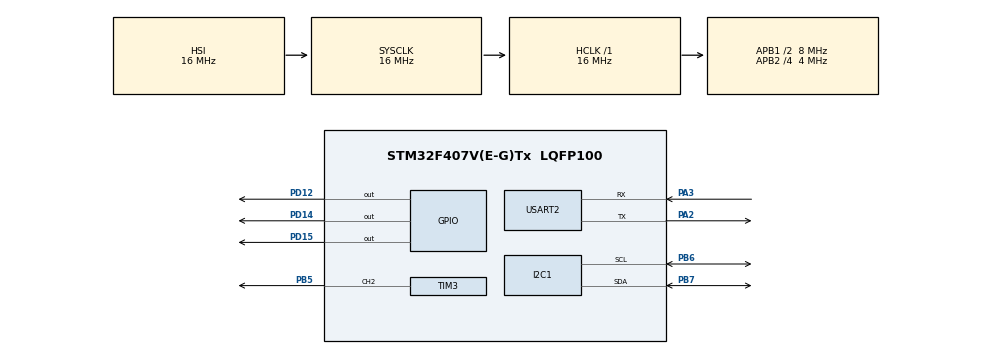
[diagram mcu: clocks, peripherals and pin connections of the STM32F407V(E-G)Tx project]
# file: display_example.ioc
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I2C1.I2C_Mode=I2C_Fast
Mcu.Family=STM32F4
Mcu.Name=STM32F407V(E-G)Tx
Mcu.Package=LQFP100
NVIC.PriorityGroup=NVIC_PRIORITYGROUP_4
NVIC.TIM2_IRQn=true\:0\:0\:false\:false\:true\:true\:true\:true
PA2.Mode=Asynchronous
PA2.Signal=USART2_TX
PA3.Mode=Asynchronous
PA3.Signal=USART2_RX
PB5.Signal=S_TIM3_CH2
PB6.Mode=I2C
PB6.Signal=I2C1_SCL
PB7.Mode=I2C
PB7.Signal=I2C1_SDA
PD12.GPIO_Speed=GPIO_SPEED_FREQ_HIGH
PD12.Signal=GPIO_Output
PD14.GPIO_Speed=GPIO_SPEED_FREQ_HIGH
PD14.Signal=GPIO_Output
PD15.GPIO_Speed=GPIO_SPEED_FREQ_HIGH
PD15.Signal=GPIO_Output
ProjectManager.HeapSize=0x200
ProjectManager.StackSize=0x400
ProjectManager.TargetToolchain=STM32CubeIDE
RCC.48MHZClocksFreq_Value=32000000
RCC.AHBFreq_Value=16000000
RCC.APB1CLKDivider=RCC_HCLK_DIV2
RCC.APB1Freq_Value=8000000
RCC.APB1TimFreq_Value=16000000
RCC.APB2CLKDivider=RCC_HCLK_DIV4
RCC.APB2Freq_Value=4000000
RCC.APB2TimFreq_Value=8000000
RCC.CortexFreq_Value=16000000
RCC.HCLKFreq_Value=16000000
RCC.HSE_VALUE=25000000
RCC.HSI_VALUE=16000000
RCC.LSE_VALUE=32768
RCC.PLLM=8
RCC.PLLN=64
RCC.SYSCLKFreq_VALUE=16000000
RCC.VCOOutputFreq_Value=128000000
SH.S_TIM3_CH2.0=TIM3_CH2,PWM Generation2 CH2
TIM2.AutoReloadPreload=TIM_AUTORELOAD_PRELOAD_ENABLE
TIM2.Period=65535
TIM2.Prescaler=15
TIM3.AutoReloadPreload=TIM_AUTORELOAD_PRELOAD_ENABLE
TIM3.Channel-PWM\ Generation2\ CH2=TIM_CHANNEL_2
TIM3.Period=1000-1
TIM3.Prescaler=84-1
TIM3.Pulse-PWM\ Generation2\ CH2=500
USART2.VirtualMode=VM_ASYNC
VP_TIM2_VS_ClockSourceINT.Mode=Internal
VP_TIM3_VS_ClockSourceINT.Mode=Internal
board=custom

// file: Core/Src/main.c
/* USER CODE BEGIN Header */
/**
  ******************************************************************************
  * @file           : main.c
  * @brief          : Weather Station Main Program
  * @author         : Diana Siukalo
  ******************************************************************************
  * @attention
  *
  * Copyright (c) 2026 STMicroelectronics.
  * All rights reserved.
  *
  * This software is licensed under terms that can be found in the LICENSE file
  * in the root directory of this software component.
  * If no LICENSE file comes with this software, it is provided AS-IS.
  *
  ******************************************************************************
  */
/* USER CODE END Header */
#include "main.h"

/* USER CODE BEGIN Includes */
#include <stdio.h>                    // for sprintf, printf
#include <string.h>                   // for strlen
#include "LiquidCrystal_I2C.h"        // I2C LCD driver
#include "dht11.h"                    // DHT11 sensor driver
/* USER CODE END Includes */

/* USER CODE BEGIN PTD */
/**
 * @brief System states based on temperature reading
 */
typedef enum {
  STATE_NORMAL,
  STATE_WARNING,
  STATE_CRITICAL
} SystemState;
/* USER CODE END PTD */

I2C_HandleTypeDef hi2c1;

TIM_HandleTypeDef htim2;
TIM_HandleTypeDef htim3;

UART_HandleTypeDef huart2;

/* USER CODE BEGIN PV */
SystemState currentState = STATE_NORMAL;    // Holds the current system state
/* USER CODE END PV */

void SystemClock_Config(void);
static void MX_GPIO_Init(void);
static void MX_I2C1_Init(void);
static void MX_USART2_UART_Init(void);
static void MX_TIM2_Init(void);
static void MX_TIM3_Init(void);

/* USER CODE BEGIN 0 */
/**
 * @brief Retarget printf to UART2 – sends characters via USART2
 * @param ch Character to send
 * @return The character sent (standard for putchar)
 */
int __io_putchar(int ch) {
    HAL_UART_Transmit(&huart2, (uint8_t*)&ch, 1, HAL_MAX_DELAY);
    return ch;
}

// RGB LED pin definitions on Port D  (for KY-016)
#define LED_R_PIN   GPIO_PIN_14    // Red LED control pin
#define LED_G_PIN   GPIO_PIN_12    // Green LED control pin
#define LED_B_PIN   GPIO_PIN_15    // Blue LED control pin
#define LED_PORT    GPIOD          // GPIO port for all RGB LEDs
/**
 * @brief Set the RGB LED to a specific color by controlling each pin
 * @param r 1 = Red ON, 0 = OFF
 * @param g 1 = Green ON, 0 = OFF
 * @param b 1 = Blue ON, 0 = OFF
 */
void setRGB(uint8_t r, uint8_t g, uint8_t b) {
    HAL_GPIO_WritePin(LED_PORT, LED_R_PIN, r ? GPIO_PIN_SET : GPIO_PIN_RESET);
    HAL_GPIO_WritePin(LED_PORT, LED_G_PIN, g ? GPIO_PIN_SET : GPIO_PIN_RESET);
    HAL_GPIO_WritePin(LED_PORT, LED_B_PIN, b ? GPIO_PIN_SET : GPIO_PIN_RESET);
}
/**
 * @brief Turn on only the red LED
 */
void setRed()     { setRGB(1,0,0); }
/**
 * @brief Turn on only the green LED
 */
void setGreen()   { setRGB(0,1,0); }
/**
 * @brief Turn on yellow (red + green)
 */
void setYellow()  { setRGB(1, 1, 0); }

/**
 * @brief Generate a tone on the buzzer using PWM on TIM3 channel 2
 * @param freq Desired frequency in Hz. Pass 0 to stop the buzzer.
 */
void Buzzer_PlayTone(uint16_t freq) {
    if (freq == 0) {
        HAL_TIM_PWM_Stop(&htim3, TIM_CHANNEL_2);  // Turn off PWM, silence buzzer
        return;
    }

    uint32_t arr = 1000000 / freq;
    if (arr > 65535) arr = 65535;
    if (arr < 2) arr = 2;

    __HAL_TIM_SET_AUTORELOAD(&htim3, arr - 1);                          // Set PWM period
    __HAL_TIM_SET_COMPARE(&htim3, TIM_CHANNEL_2, (arr - 1) / 2);

    HAL_TIM_PWM_Start(&htim3, TIM_CHANNEL_2);                          // Start PWM output
}

/**
 * @brief Update the system state based on the measured temperature
 * @param temperature Current temperature in degrees Celsius
 */
void updateState(float temperature) {
    SystemState newState = currentState;
    if (temperature > 30.0f) {
        newState = STATE_CRITICAL;
    } else if (temperature > 25.0f) {
        newState = STATE_WARNING;
    } else {
        newState = STATE_NORMAL;
    }
    if (newState != currentState) {
        currentState = newState;       // State changed, update variable

    }
}

/**
 * @brief Perform actions according to the current state: set LED color and buzzer.
 */
void applyState(void) {
	switch (currentState) {
	case STATE_NORMAL:
		setGreen();                 // Green LED for normal condition
		Buzzer_PlayTone(0);        // No buzzer sound
		break;
	case STATE_WARNING:
		setYellow();               // Yellow LED as warning
		Buzzer_PlayTone(2000);     // One short beep (2000 Hz for 200 ms)
		HAL_Delay(200);
		Buzzer_PlayTone(0);
		break;
	case STATE_CRITICAL:
		setRed();                  // Red LED for critical high temperature
		for (int i = 0; i < 3; i++) {   // Three short beeps
			Buzzer_PlayTone(2500);
			HAL_Delay(200);
			Buzzer_PlayTone(0);
			HAL_Delay(200);
		}
		break;
	}
}
/* USER CODE END 0 */

int main(void)
{

  /* MCU Configuration--------------------------------------------------------*/

  /* Reset of all peripherals, Initializes the Flash interface and the Systick. */
  HAL_Init();

  /* Configure the system clock */
  SystemClock_Config();

  /* Initialize all configured peripherals */
  MX_GPIO_Init();
  MX_I2C1_Init();
  MX_USART2_UART_Init();
  MX_TIM2_Init();
  MX_TIM3_Init();
  /* USER CODE BEGIN 2 */
	HAL_TIM_Base_Start(&htim2);  // Start timer2 used by DHT11 for precise microsecond delays
	HD44780_Init(2);             // Initialize LCD (16x2 characters)
	HD44780_Clear();
	HD44780_SetCursor(0, 0);
	HD44780_PrintStr("Weather Station");
	HAL_Delay(2000);
	HD44780_Clear();
	HD44780_SetCursor(1, 0);
	HD44780_PrintStr("Loading...");
	HAL_Delay(2000);
	DHT11_Init(GPIOA, GPIO_PIN_1, &htim2); // Initialize DHT11 sensor on pin PA1
	HD44780_Clear();
	printf("Weather station started\r\n");   // Send a welcome message over UART
  /* USER CODE END 2 */

  /* Infinite loop */
  /* USER CODE BEGIN WHILE */
	while (1) {
		DHT11_Data sensor_data;
		uint8_t read_status = DHT11_Read(&sensor_data);   // Read from sensor

		if (read_status == DHT11_OK) {
			updateState(sensor_data.temperature);    //Update state machine based on measured temperature

			//Display temperature and humidity on the LCD
			char lcd_line1[17];
			char lcd_line2[17];
			sprintf(lcd_line1, "Temp: %.1f C", sensor_data.temperature);
			sprintf(lcd_line2, "Hum:  %.1f %%", sensor_data.humidity);
			HD44780_SetCursor(0, 0);
			HD44780_PrintStr(lcd_line1);
			HD44780_SetCursor(0, 1);
			HD44780_PrintStr(lcd_line2);

			applyState(); //Apply the state (LED + buzzer)

			//Print the data and state to UART for monitoring
			const char *state_str = "";
			switch (currentState) {
			case STATE_NORMAL:
				state_str = "NORMAL";
				break;
			case STATE_WARNING:
				state_str = "WARNING";
				break;
			case STATE_CRITICAL:
				state_str = "CRITICAL";
				break;
			default:
				state_str = "UNKNOWN";
				break;
			}
			printf("Temperature=%.1f C, Humidity=%.1f %% | State: %s\r\n",
					sensor_data.temperature, sensor_data.humidity, state_str);
		} else {
			// Sensor read error
			HD44780_Clear();
			// Three error beeps
			for (int i = 0; i < 3; i++) {
				Buzzer_PlayTone(2000);
				HAL_Delay(200);
				Buzzer_PlayTone(0);
				HAL_Delay(200);
			}
			// Display error message on first line of LCD
			HD44780_SetCursor(0, 0);
			HD44780_PrintStr("DHT11 Error!");
			 // Show error code on second line
			HD44780_SetCursor(0, 1);
			char err_buf[17];
			sprintf(err_buf, "Code: %d", read_status);
			HD44780_PrintStr(err_buf);
			// Send error message over UART
			char err_msg[32];
			sprintf(err_msg, "DHT11 Error: %d\r\n", read_status);
			HAL_UART_Transmit(&huart2, (uint8_t*) err_msg, strlen(err_msg),
					100);
		}
		// Wait 2 seconds before next  cycle
		HAL_Delay(2000);
    /* USER CODE END WHILE */

  }
}

void SystemClock_Config(void)
{
  RCC_OscInitTypeDef RCC_OscInitStruct = {0};
  RCC_ClkInitTypeDef RCC_ClkInitStruct = {0};

  /** Configure the main internal regulator output voltage
  */
  __HAL_RCC_PWR_CLK_ENABLE();
  __HAL_PWR_VOLTAGESCALING_CONFIG(PWR_REGULATOR_VOLTAGE_SCALE1);

  /** Initializes the RCC Oscillators according to the specified parameters
  * in the RCC_OscInitTypeDef structure.
  */
  RCC_OscInitStruct.OscillatorType = RCC_OSCILLATORTYPE_HSI;
  RCC_OscInitStruct.HSIState = RCC_HSI_ON;
  RCC_OscInitStruct.HSICalibrationValue = RCC_HSICALIBRATION_DEFAULT;
  RCC_OscInitStruct.PLL.PLLState = RCC_PLL_NONE;
  if (HAL_RCC_OscConfig(&RCC_OscInitStruct) != HAL_OK)
  {
    Error_Handler();
  }

  /** Initializes the CPU, AHB and APB buses clocks
  */
  RCC_ClkInitStruct.ClockType = RCC_CLOCKTYPE_HCLK|RCC_CLOCKTYPE_SYSCLK
                              |RCC_CLOCKTYPE_PCLK1|RCC_CLOCKTYPE_PCLK2;
  RCC_ClkInitStruct.SYSCLKSource = RCC_SYSCLKSOURCE_HSI;
  RCC_ClkInitStruct.AHBCLKDivider = RCC_SYSCLK_DIV1;
  RCC_ClkInitStruct.APB1CLKDivider = RCC_HCLK_DIV2;
  RCC_ClkInitStruct.APB2CLKDivider = RCC_HCLK_DIV4;

  if (HAL_RCC_ClockConfig(&RCC_ClkInitStruct, FLASH_LATENCY_0) != HAL_OK)
  {
    Error_Handler();
  }
}

static void MX_I2C1_Init(void)
{

  hi2c1.Instance = I2C1;
  hi2c1.Init.ClockSpeed = 400000;
  hi2c1.Init.DutyCycle = I2C_DUTYCYCLE_2;
  hi2c1.Init.OwnAddress1 = 0;
  hi2c1.Init.AddressingMode = I2C_ADDRESSINGMODE_7BIT;
  hi2c1.Init.DualAddressMode = I2C_DUALADDRESS_DISABLE;
  hi2c1.Init.OwnAddress2 = 0;
  hi2c1.Init.GeneralCallMode = I2C_GENERALCALL_DISABLE;
  hi2c1.Init.NoStretchMode = I2C_NOSTRETCH_DISABLE;
  if (HAL_I2C_Init(&hi2c1) != HAL_OK)
  {
    Error_Handler();
  }

}

static void MX_TIM2_Init(void)
{

  TIM_ClockConfigTypeDef sClockSourceConfig = {0};
  TIM_MasterConfigTypeDef sMasterConfig = {0};

  htim2.Instance = TIM2;
  htim2.Init.Prescaler = 15;
  htim2.Init.CounterMode = TIM_COUNTERMODE_UP;
  htim2.Init.Period = 65535;
  htim2.Init.ClockDivision = TIM_CLOCKDIVISION_DIV1;
  htim2.Init.AutoReloadPreload = TIM_AUTORELOAD_PRELOAD_ENABLE;
  if (HAL_TIM_Base_Init(&htim2) != HAL_OK)
  {
    Error_Handler();
  }
  sClockSourceConfig.ClockSource = TIM_CLOCKSOURCE_INTERNAL;
  if (HAL_TIM_ConfigClockSource(&htim2, &sClockSourceConfig) != HAL_OK)
  {
    Error_Handler();
  }
  sMasterConfig.MasterOutputTrigger = TIM_TRGO_RESET;
  sMasterConfig.MasterSlaveMode = TIM_MASTERSLAVEMODE_DISABLE;
  if (HAL_TIMEx_MasterConfigSynchronization(&htim2, &sMasterConfig) != HAL_OK)
  {
    Error_Handler();
  }

}

static void MX_TIM3_Init(void)
{

  TIM_ClockConfigTypeDef sClockSourceConfig = {0};
  TIM_MasterConfigTypeDef sMasterConfig = {0};
  TIM_OC_InitTypeDef sConfigOC = {0};

  htim3.Instance = TIM3;
  htim3.Init.Prescaler = 84-1;
  htim3.Init.CounterMode = TIM_COUNTERMODE_UP;
  htim3.Init.Period = 1000-1;
  htim3.Init.ClockDivision = TIM_CLOCKDIVISION_DIV1;
  htim3.Init.AutoReloadPreload = TIM_AUTORELOAD_PRELOAD_ENABLE;
  if (HAL_TIM_Base_Init(&htim3) != HAL_OK)
  {
    Error_Handler();
  }
  sClockSourceConfig.ClockSource = TIM_CLOCKSOURCE_INTERNAL;
  if (HAL_TIM_ConfigClockSource(&htim3, &sClockSourceConfig) != HAL_OK)
  {
    Error_Handler();
  }
  if (HAL_TIM_PWM_Init(&htim3) != HAL_OK)
  {
    Error_Handler();
  }
  sMasterConfig.MasterOutputTrigger = TIM_TRGO_RESET;
  sMasterConfig.MasterSlaveMode = TIM_MASTERSLAVEMODE_DISABLE;
  if (HAL_TIMEx_MasterConfigSynchronization(&htim3, &sMasterConfig) != HAL_OK)
  {
    Error_Handler();
  }
  sConfigOC.OCMode = TIM_OCMODE_PWM1;
  sConfigOC.Pulse = 500;
  sConfigOC.OCPolarity = TIM_OCPOLARITY_HIGH;
  sConfigOC.OCFastMode = TIM_OCFAST_DISABLE;
  if (HAL_TIM_PWM_ConfigChannel(&htim3, &sConfigOC, TIM_CHANNEL_2) != HAL_OK)
  {
    Error_Handler();
  }
  HAL_TIM_MspPostInit(&htim3);

}

static void MX_USART2_UART_Init(void)
{

  huart2.Instance = USART2;
  huart2.Init.BaudRate = 115200;
  huart2.Init.WordLength = UART_WORDLENGTH_8B;
  huart2.Init.StopBits = UART_STOPBITS_1;
  huart2.Init.Parity = UART_PARITY_NONE;
  huart2.Init.Mode = UART_MODE_TX_RX;
  huart2.Init.HwFlowCtl = UART_HWCONTROL_NONE;
  huart2.Init.OverSampling = UART_OVERSAMPLING_16;
  if (HAL_UART_Init(&huart2) != HAL_OK)
  {
    Error_Handler();
  }

}

static void MX_GPIO_Init(void)
{
  GPIO_InitTypeDef GPIO_InitStruct = {0};

  /* GPIO Ports Clock Enable */
  __HAL_RCC_GPIOA_CLK_ENABLE();
  __HAL_RCC_GPIOD_CLK_ENABLE();
  __HAL_RCC_GPIOB_CLK_ENABLE();

  /*Configure GPIO pin Output Level */
  HAL_GPIO_WritePin(GPIOD, GPIO_PIN_12|GPIO_PIN_14|GPIO_PIN_15, GPIO_PIN_RESET);

  /*Configure GPIO pins : PD12 PD14 PD15 */
  GPIO_InitStruct.Pin = GPIO_PIN_12|GPIO_PIN_14|GPIO_PIN_15;
  GPIO_InitStruct.Mode = GPIO_MODE_OUTPUT_PP;
  GPIO_InitStruct.Pull = GPIO_NOPULL;
  GPIO_InitStruct.Speed = GPIO_SPEED_FREQ_HIGH;
  HAL_GPIO_Init(GPIOD, &GPIO_InitStruct);

}

void Error_Handler(void)
{
  __disable_irq();
  while (1)
  {
  }
}
